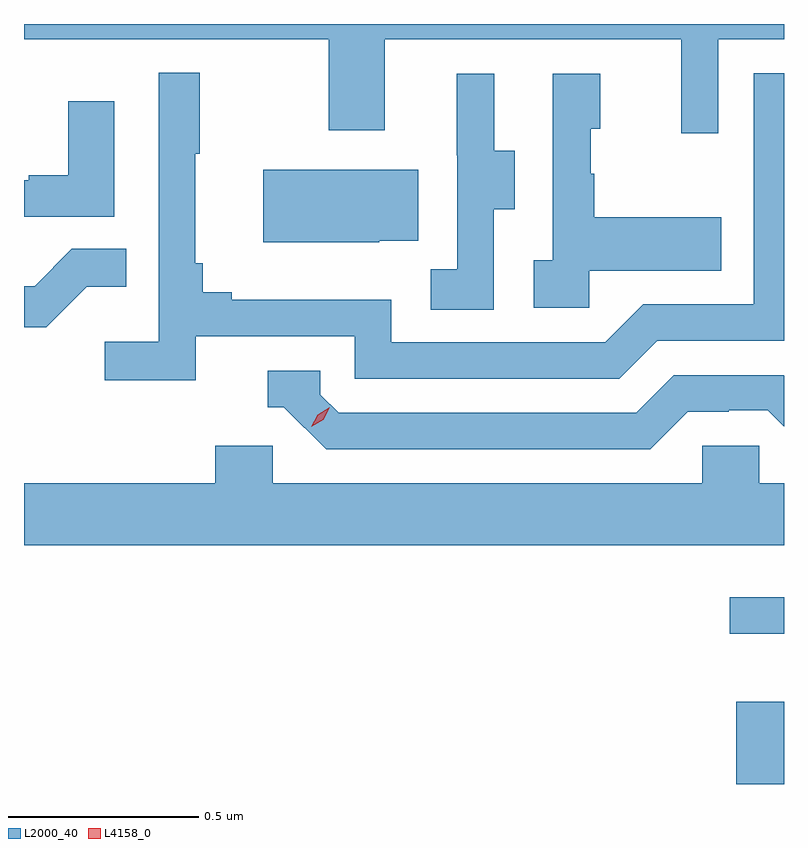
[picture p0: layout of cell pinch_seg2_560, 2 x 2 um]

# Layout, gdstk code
import gdstk
lib = gdstk.Library(unit=1e-6, precision=1e-09)
def R(c, l, rs):  # rectangles x0, y0, x1, y1
    for r in rs: c.add(gdstk.rectangle(r[:2], r[2:], *l))
def P(c, l, *ps):  # polygons
    for p in ps: c.add(gdstk.Polygon(p, *l))
L2000_40 = (2000, 40)
L4158_0 = (4158, 0)

pinch_seg2_560 = lib.new_cell('pinch_seg2_560')
R(pinch_seg2_560, L2000_40, [(1110.62,615.04,1110.746,615.256), (1110.603,615.435,1110.746,615.532)])
P(pinch_seg2_560, L2000_40, [(1110.573,617),(1110.746,617),(1110.746,617.04),(1108.746,617.04),(1108.746,617),(1109.548,617),(1109.548,616.761),(1109.695,616.761),(1109.695,617),(1110.476,617),(1110.476,616.752),(1110.573,616.752)],
  [(1109.198,616.218),(1109.616,616.218),(1109.616,616.107),(1110.313,616.107),(1110.412,616.206),(1110.746,616.206),(1110.746,616.911),(1110.666,616.911),(1110.666,616.302),(1110.375,616.302),(1110.276,616.203),(1109.712,616.203),(1109.712,616.315),(1109.293,616.315),(1109.293,616.334),(1109.216,616.334),(1109.216,616.411),(1109.197,616.411),(1109.197,616.699),(1109.209,616.699),(1109.209,616.912),(1109.1,616.912),(1109.1,616.204),(1108.959,616.204),(1108.959,616.102),(1109.198,616.102)],
  [(1109.982,616.552),(1110.037,616.552),(1110.037,616.707),(1109.983,616.707),(1109.983,616.909),(1109.885,616.909),(1109.885,616.695),(1109.886,616.695),(1109.886,616.395),(1109.817,616.395),(1109.817,616.288),(1109.982,616.288)],
  [(1110.234,616.391),(1110.581,616.391),(1110.581,616.531),(1110.247,616.531),(1110.247,616.646),(1110.237,616.646),(1110.237,616.764),(1110.262,616.764),(1110.262,616.909),(1110.138,616.909),(1110.138,616.418),(1110.087,616.418),(1110.087,616.293),(1110.234,616.293)],
  [(1108.984,616.837),(1108.862,616.837),(1108.862,616.642),(1108.759,616.642),(1108.759,616.629),(1108.746,616.629),(1108.746,616.533),(1108.984,616.533)],
  [(1109.681,616.469),(1109.783,616.469),(1109.783,616.657),(1109.375,616.657),(1109.375,616.466),(1109.681,616.466)],
  [(1108.911,616.349),(1109.015,616.349),(1109.015,616.448),(1108.872,616.448),(1108.774,616.35),(1108.746,616.35),(1108.746,616.242),(1108.804,616.242)],
  [(1110.493,616.02),(1110.6,616.02),(1110.6,616.023),(1110.703,616.023),(1110.745,615.981),(1110.746,615.981),(1110.746,616.115),(1110.745,616.116),(1110.456,616.116),(1110.357,616.017),(1109.574,616.017),(1109.526,616.065),(1109.526,616.128),(1109.387,616.128),(1109.387,616.032),(1109.43,616.032),(1109.541,615.921),(1110.394,615.921)],
  [(1110.531,615.93),(1110.531,615.832),(1109.4,615.832),(1109.4,615.93),(1109.249,615.93),(1109.249,615.832),(1108.746,615.832),(1108.746,615.668),(1110.746,615.668),(1110.746,615.832),(1110.681,615.832),(1110.681,615.93)])
P(pinch_seg2_560, L4158_0, [(1109.502,615.98),(1109.502,615.98),(1109.519,616.012),(1109.55,616.031),(1109.55,616.031),(1109.55,616.031),(1109.533,615.998),(1109.502,615.98)])

lib.write_gds('pinch_seg2_560.gds')
